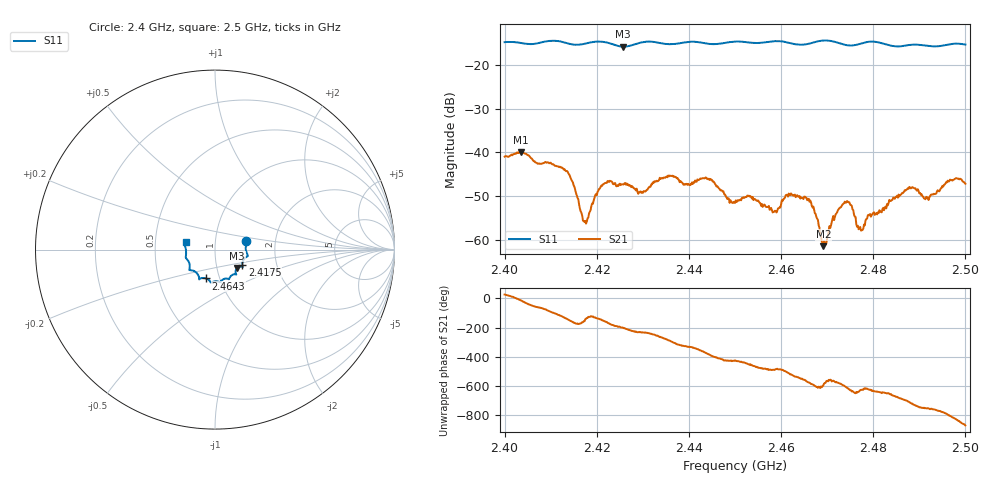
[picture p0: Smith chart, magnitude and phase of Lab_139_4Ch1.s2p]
# Hz S RI R 50
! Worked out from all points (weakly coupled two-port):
!   601 points, 2.4 GHz to 2.5 GHz, reference 50 ohm
!   highest |S21| = -39.97 dB at 2.4035 GHz (marker M1); lowest = -61.3 dB at 2.4692 GHz (marker M2)
!   lowest |S11| = -15.9 dB at 2.4257 GHz (marker M3), VSWR 1.38, Z = 62.5 - j13.1 ohm
!   |S11| at or under -10 dB: start of sweep to end of sweep
!   S12 and S22 are empty: the file has one direction only
!   S11 on the Smith chart (normalised r, x): 2.4 GHz: 1.41, +0.14; 2.4175 GHz: 1.34, -0.23; 2.4643 GHz: 0.86, -0.28; 2.5 GHz: 0.72, +0.06
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2.4e9  0.1733 0.0489  0.0081 0.00384  0 0  0 0
2.4035e9  0.1738 0.0306  0.00971 -0.00252  0 0  0 0
2.4135e9  0.1702 -0.0437  -0.00474 -0.00393  0 0  0 0
2.416667e9  0.1527 -0.0743  -0.00202 -0.000391  0 0  0 0
2.4175e9  0.1518 -0.0836  -0.00134 -0.000977  0 0  0 0
2.421333e9  0.1538 -0.0966  -0.00381 -0.00207  0 0  0 0
2.425667e9  0.1228 -0.1024  -0.00406 0.00149  0 0  0 0
2.4295e9  0.1163 -0.1346  -0.00229 0.00278  0 0  0 0
2.433333e9  0.1126 -0.1372  -0.000922 0.00465  0 0  0 0
2.444167e9  0.062 -0.161  0.00464 -0.00171  0 0  0 0
2.45e9  0.0284 -0.1809  0.00118 -0.00239  0 0  0 0
2.458667e9  -0.0214 -0.1837  -0.00134 -0.00171  0 0  0 0
2.461333e9  -0.0276 -0.1766  -0.00274 -0.00184  0 0  0 0
2.464333e9  -0.0499 -0.1607  -0.00304 0.00057  0 0  0 0
2.466667e9  -0.076 -0.1592  -0.00172 0.00177  0 0  0 0
2.469167e9  -0.088 -0.166  -0.000504 0.000694  0 0  0 0
2.473833e9  -0.0962 -0.1379  -0.00135 0.0024  0 0  0 0
2.477333e9  -0.1294 -0.1157  -9.75e-05 0.00129  0 0  0 0
2.483333e9  -0.1405 -0.0897  0.000862 0.0025  0 0  0 0
2.488e9  -0.1599 -0.0503  0.00397 0.000452  0 0  0 0
2.4915e9  -0.1616 -0.0306  0.00266 -0.00164  0 0  0 0
2.5e9  -0.1638 0.0424  -0.00377 -0.00228  0 0  0 0
